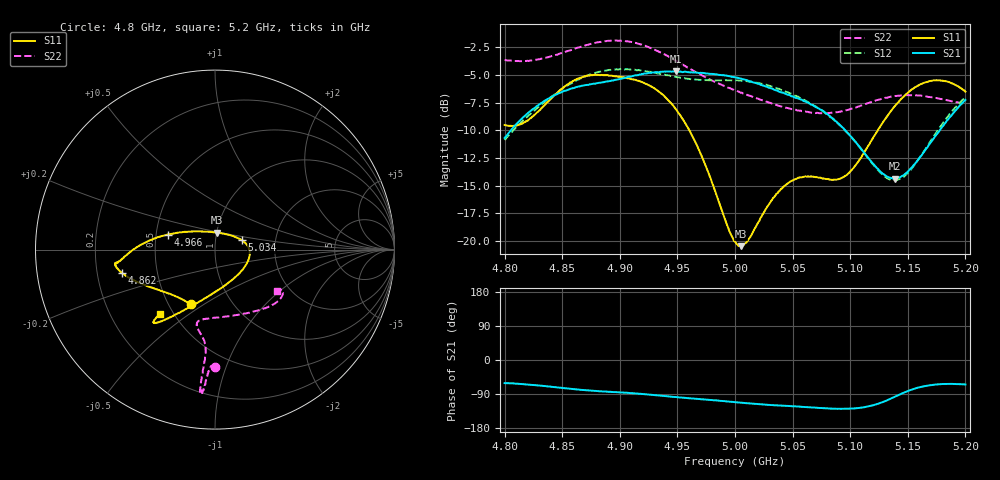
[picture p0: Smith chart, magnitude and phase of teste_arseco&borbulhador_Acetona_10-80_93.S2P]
! Network Analyzer HP8722D
! Hewlett-Packard
! Data name: Linha & Wilkinson
! Saver's name: Rodrigo Anjos
! Comments: Teste da utilização de aquisição
! continua pelo VNA HP8722D
! Time and date: 17/4/2025 15:08
!  Frequency  S11  S21  S12  S22
# HZ  S  MA R 50
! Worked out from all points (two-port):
!   401 points, 4.8 GHz to 5.2 GHz, reference 50 ohm
!   highest |S21| = -4.67 dB at 4.949 GHz (marker M1); lowest = -14.4 dB at 5.139 GHz (marker M2)
!   |S21| within 3 dB of the highest: 4.83 GHz to 5.066 GHz (235.9 MHz wide, 4.77 % of centre); 5.196115 GHz to end of sweep
!   lowest |S11| = -20.5 dB at 5.005 GHz (marker M3), VSWR 1.21, Z = 50.4 + j9.56 ohm
!   |S11| at or under -10 dB: 4.96 GHz to 5.124 GHz (163.6 MHz wide, 3.24 % of centre)
!   |S22| runs from -8.5 to -1.9 dB; largest |S21 - S12| = 0.87
!   S11 on the Smith chart (normalised r, x): 4.8 GHz: 0.64, -0.44; 4.862 GHz: 0.31, -0.11; 4.966 GHz: 0.58, +0.10; 5.034 GHz: 1.34, +0.14; 5.2 GHz: 0.42, -0.39
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4.8e9  0.334 -113.7  0.2918 -60.9  0.2857 -175.1  0.6559 -90.1
4.819e9  0.3484 -133.8  0.3734 -64.3  0.3616 -173.8  0.6505 -91.8
4.862e9  0.5362 -166.1  0.4953 -77.3  0.5297 -177.2  0.7426 -94.1
4.867e9  0.548 -168.0  0.5021 -78.9  0.5451 -178.1  0.7548 -94.1
4.902e9  0.5485 -172.6  0.541 -85.7  0.5983 174.8  0.8001 -95.7
4.934e9  0.4729 -178.4  0.5775 -93.7  0.5718 171.6  0.7146 -96.0
4.949e9  0.3913 174.3  0.5838 -97.8  0.5511 171.9  0.651 -95.7
4.966e9  0.2767 162.4  0.5762 -102.4  0.5357 173.6  0.5783 -95.1
5e9  0.09949 100.1  0.5482 -111.4  0.5312 176.0  0.4787 -99.4
5.005e9  0.09486 82.2  0.5414 -112.7  0.5291 175.9  0.4671 -100.6
5.012e9  0.1025 59.1  0.5272 -114.5  0.5237 175.7  0.4531 -102.0
5.034e9  0.1579 19.4  0.4811 -119.4  0.4944 174.6  0.4138 -103.5
5.05e9  0.1875 3.2  0.4505 -122.2  0.4588 173.9  0.3941 -99.4
5.067e9  0.1952 -14.9  0.4122 -125.1  0.4147 173.5  0.3794 -90.6
5.086e9  0.1895 -45.1  0.354 -128.2  0.3512 173.6  0.3804 -76.1
5.098e9  0.2012 -69.6  0.3065 -128.6  0.3065 174.6  0.3908 -66.1
5.134e9  0.3775 -116.8  0.1936 -103.6  0.1898 -156.5  0.4469 -43.0
5.139e9  0.4076 -120.0  0.1914 -96.8  0.1884 -148.5  0.4517 -40.9
5.152e9  0.4759 -125.3  0.2112 -79.6  0.2076 -129.0  0.4555 -36.2
5.17e9  0.5279 -129.2  0.2789 -66.3  0.284 -112.5  0.446 -32.1
5.184e9  0.5245 -130.5  0.3497 -63.2  0.3607 -107.4  0.4322 -31.1
5.2e9  0.4723 -130.8  0.4334 -64.7  0.4455 -106.7  0.415 -33.5
